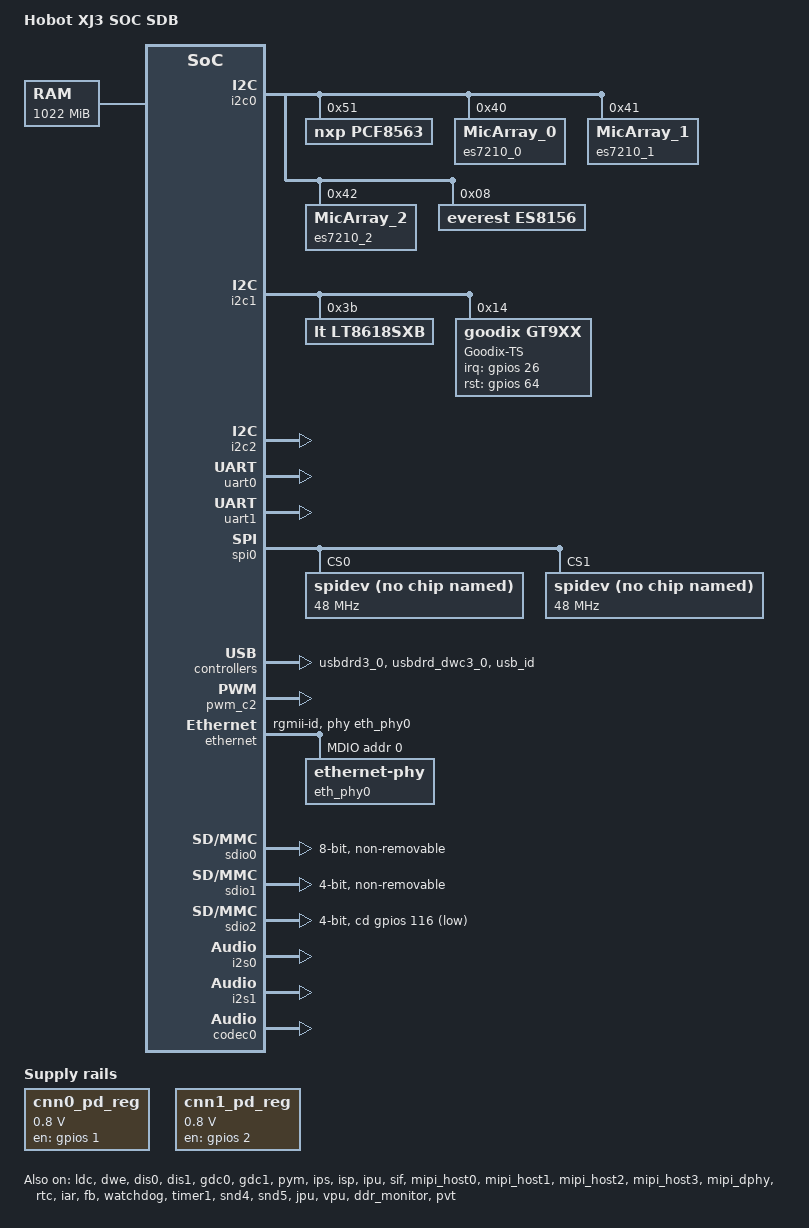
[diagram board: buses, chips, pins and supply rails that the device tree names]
/*
 * dtsi file for Hobot XJ3 SDB
 *
 * (C) Copyright 2018, Horizon, Inc.
 *
 *
 * This program is free software; you can redistribute it and/or
 * modify it under the terms of the GNU General Public License as
 * published by the Free Software Foundation; either version 2 of
 * the License, or (at your option) any later version.
 */

/dts-v1/;
#include "hobot-xj3.dtsi"
#include "hobot-pinctrl-xj3.dtsi"
#include "hobot-clk-xj3.dtsi"
#include <dt-bindings/gpio/gpio.h>
#include <dt-bindings/phy/phy.h>

/ {
	model = "Hobot XJ3 SOC SDB";

	aliases {
		serial0 = &uart0;
		serial1 = &uart1;
		serial2 = &uart2;
		serial3 = &uart3;
		i2c0	= &i2c0;
		i2c1	= &i2c1;
		i2c2	= &i2c2;
		i2c3	= &i2c3;
		i2c4	= &i2c4;
		i2c5	= &i2c5;
		i2s0	= &i2s0;
		i2s1	= &i2s1;
		spi0	= &spi0;
		spi1	= &spi1;
		spi2	= &spi2;
		usbdrd3_0 = &usbdrd3_0;
		usbdrd_dwc3_0 = &usbdrd_dwc3_0;
		bifspi	= &bifspi;
		bifsd   = &bifsd;
		mmc1	= &sdio0;
		mmc2	= &sdio1;
		mmc3	= &sdio2;
		dma	= &dma;
		dmatest = &dmatest;
		mipihost0 = &mipi_host0;
		mipihost1 = &mipi_host1;
		mipihost2 = &mipi_host2;
		mipihost3 = &mipi_host3;
		mipidev0 = &mipi_dev0;

		pym	= &pym;
		dwe	= &dwe;
		ldc	= &ldc;
		dis0	= &dis0;
		dis1	= &dis1;
		gdc0	= &gdc0;
		gdc1	= &gdc1;
		isp	= &isp;
		ipu	= &ipu;
		sif	= &sif;

		sndcard0 = &snd0;
		sndcard1 = &snd1;
		sndcard2 = &snd2;
		sndcard4 = &snd4;
		idma0 = &i2sidma0;
		idma1 = &i2sidma1;

		codec0 = &codec0;

		socinfo = &socinfo;

		gpios = &gpios;
		usb_id = &usb_id;
		extcon_vbus = &extcon_vbus;

		power = &power;
		pwm_c2 = &pwm_c2;
	};

	chosen {
		bootargs = "earlycon loglevel=8 kgdboc=ttyS0 video=hobot:x3sdb-hdmi ";
		stdout-path = "serial0";
	};

	memory@0 {
		device_type = "memory";
		reg = <0x0 0x200000 0x0 0x3FE00000>;
	};

	reserved-memory {
		#address-cells = <2>;
		#size-cells = <2>;
		ranges;

		/*Reserved 256K memory pstore */
		ramoops@0x3FC0000 {
			compatible = "ramoops";
			reg = <0x0 0x3FC0000 0x0 0x40000>;
			console-size = <0x8000>;
			pmsg-size = <0x8000>;
			ftrace-size = <0x8000>;
			record-size = <0x4000>;
		};

		/* Reserved 672MB memory for ion cma */
		ion_cma {
			compatible = "shared-dma-pool";
			alloc-ranges = <0x0 0x4000000 0x0 0x2A000000>;
			alignment = <0x0 0x100000>;
			size = <0x0 0x2A000000>;
			reusable;
		};

		/* 32M */
/*
		ion_reserved: ion_reserved@0x2E000000 {
			compatible = "ion-pool";
			reg = <0x0 0x2E000000 0x0 0x2000000>;
		};
*/
		/*Reserved 1M memory for CR5*/
		image_r5_mem: image_r5_mem {
			reg = <0x0 0x80000000 0x0 0x10000>;
			no-map;
		};

		msg_r5_mem: msg_r5_mem {
			reg = <0x0 0x8000f000 0x0 0x1000>;
			no-map;
		};

		rpmsg_r5_code: rpmsg_r5_code {
			reg = <0x0 0x3E00000 0x0 0xFF000>;
			no-map;
		};

		rpmsg_r5_vring: rpmsg_r5_vring {
			reg = <0x0 0x3EFF000 0x0 0x1000>;
			no-map;
		};
	};

	cnn0_pd_reg: cnn0_pd_reg@2 {
		status = "okay";
		compatible = "regulator-gpio";
		regulator-name = "VCC_CNN0";
		regulator-min-microvolt = <800000>;
		regulator-max-microvolt = <800000>;
		enable-gpio = <&gpios 1 0>;
		states = <800000 0>;
		startup-delay-us = <3000>;
		regulator-boot-on;
		enable-active-high;
	};

	cnn1_pd_reg: cnn1_pd_reg@3 {
		status = "okay";
		compatible = "regulator-gpio";
		regulator-name = "VCC_CNN1";
		regulator-min-microvolt = <800000>;
		regulator-max-microvolt = <800000>;
		enable-gpio = <&gpios 2 0>;
		states = <800000 0>;
		startup-delay-us = <3000>;
		regulator-boot-on;
		enable-active-high;
	};
};

/*
&cr5_service {
	status = "ok";
};
*/

&power {
    vdd_core_on_cnt = <0xffff>;
    sysctrl_rst_dis_cnt = <0xffff>;
    sysctrl_pre_clkon_cnt = <0xffff>;
    sysctrl_pre_clkoff_cnt = <0xffff>;
};

&socinfo {
	board_name = "X3SDB";
	board_id = "00000000";
	origin_board_id = "00000000";
	ddr_vender = "Hynix";
	ddr_type = "LPDDR4";
	ddr_freq = "2666";
	ddr_size = "1GB";
	som_name = "X3SODIMM";
	base_board_name = "X3SDB";
	boot_mode = "0";
	socuid = "00000000000000000000000000000000";
};

&pinctrl {
	btout_func: btout_func {
		pinctrl-single,pins = <
			0x138   (MUX_F0 | DRIVE1_33MA | SCHMITT2_ENA | PULL2_DOWN) /*BT1120_OUT_CLK*/
			0x13c   (MUX_F0 | DRIVE1_12MA | SCHMITT2_DIS | PULL2_DOWN) /*BT1120_OUT_DAT0*/
			0x140   (MUX_F0 | DRIVE1_12MA | SCHMITT2_DIS | PULL2_DOWN)
			0x144   (MUX_F0 | DRIVE1_12MA | SCHMITT2_DIS | PULL2_DOWN)
			0x148   (MUX_F0 | DRIVE1_12MA | SCHMITT2_DIS | PULL2_DOWN)
			0x14c   (MUX_F0 | DRIVE1_12MA | SCHMITT2_DIS | PULL2_DOWN)
			0x150   (MUX_F0 | DRIVE1_12MA | SCHMITT2_DIS | PULL2_DOWN)
			0x154   (MUX_F0 | DRIVE1_12MA | SCHMITT2_DIS | PULL2_DOWN)
			0x158   (MUX_F0 | DRIVE1_12MA | SCHMITT2_DIS | PULL2_DOWN) /*BT1120_OUT_DAT7*/
			0x15c   (MUX_F0 | DRIVE1_12MA | SCHMITT2_DIS | PULL2_DOWN) /*BT1120_OUT_DAT8*/
			0x160   (MUX_F0 | DRIVE1_12MA | SCHMITT2_DIS | PULL2_DOWN)
			0x164   (MUX_F0 | DRIVE1_12MA | SCHMITT2_DIS | PULL2_DOWN)
			0x168   (MUX_F0 | DRIVE1_12MA | SCHMITT2_DIS | PULL2_DOWN)
			0x16c   (MUX_F0 | DRIVE1_12MA | SCHMITT2_DIS | PULL2_DOWN)
			0x170   (MUX_F0 | DRIVE1_12MA | SCHMITT2_DIS | PULL2_DOWN)
			0x174   (MUX_F0 | DRIVE1_12MA | SCHMITT2_DIS | PULL2_DOWN)
			0x178   (MUX_F0 | DRIVE1_12MA | SCHMITT2_DIS | PULL2_DOWN) /*BT1120_OUT_DAT15*/
		>;
	};
};

&i2c0 {
	status = "okay";
	#address-cells = <1>;
	#size-cells = <0>;
	/* pcf8563 */
	pcf8563@0x51 {
		compatible = "nxp,pcf8563";
		reg = <0x51>;
		clock-output-names = "wifi-32k-clk";
	};

	es7210_0:es7210_0@0x40 {
		compatible = "MicArray_0";
		reg = <0x40>;
		#sound-dai-cells = <1>;
	};
	es7210_1@0x41 {
		compatible = "MicArray_1";
		reg = <0x41>;
	};
	es7210_2@0x42{
		compatible = "MicArray_2";
		reg = <0x42>;
	};
	es8156:es8156_0@0x08{
		compatible="everest,es8156";
		reg = <0x08>;
		#sound-dai-cells = <0>;
	};
};

&i2c1 {
	status = "okay";
	#address-cells = <1>;
	#size-cells = <0>;

	lt8618sxb@0x3b {
		compatible = "lt,lt8618sxb";
		reg = <0x3b>;
		rst_pin = <64>; // shared reset with TP!
	};
	Goodix-TS@0x14 {
		compatible = "goodix,gt9xx";
		reg = <0x14>;
		irq-gpio = <&gpios 26 0>;
		rst-gpio = <&gpios 64 0>;
		status = "okay";
	};
};

&i2c2 {
	status = "okay";
	#address-cells = <1>;
	#size-cells = <0>;

};


&i2c5 {
	status = "disable";
	#address-cells = <1>;
	#size-cells = <0>;

	es8311: es8311@0x18 {
		compatible = "ambarella,es8311";
		reg = <0x18>;
		#sound-dai-cells = <0>;
	};
};


&uart0 {
	status = "okay";
};

&uart1 {
	status = "okay"; /* 4 wire uart for bt */
	pinctrl-0 = <&uart1_func_rtscts>; /* <&uart1_func>;  uart 1 connect to bt with rtscts*/
};

&spi0 {
	status = "okay";
	pinctrl-names = "default","csn1_func";
	pinctrl-1 = <&spi0_csn1_func>;
	spidev@0x00 {
		compatible = "rohm,dh2228fv";
		spi-max-frequency = <48000000>;
		reg = <0>;
	};

	spidev@0x01 {
		compatible = "rohm,dh2228fv";
		spi-max-frequency = <48000000>;
		reg = <1>;
	};
};

&usbdrd3_0 {
	status = "okay";
};

&usbdrd_dwc3_0 {
	status = "okay";
};

&usb_id {
	status = "okay";

	/* vbus-gpio = <>; */
	id-gpio = <&gpios 65 GPIO_ACTIVE_HIGH>;
	host-rst-gpio = <&gpios 115 GPIO_ACTIVE_HIGH>;
	host-exrst-gpio = <&gpios 4 GPIO_ACTIVE_LOW>;
};

&extcon_vbus {
	status = "disabled";

	pinctrl-names = "default";
	pinctrl-0 = <&vbus_detect_function>;

	gpio-mode = <0x1>;	/* 1: poll mode, 2: interrupt mode */
	vbus-gpio = <&gpios 22 GPIO_ACTIVE_HIGH>;
};

&gpios {
	status = "okay";
};

&pinctrl {
	status = "okay";
};

&ldc {
	status = "okay";
};

&dwe {
	status = "okay";
};

&dis0 {
	status = "okay";
};

&dis1 {
	status = "okay";
};

/* when gdc0 added, boot stucked one time */
&gdc0 {
	status = "okay";
};

&gdc1 {
	status = "okay";
};

&pym {
	status = "okay";
};

&ips {
	status = "okay";
};

&isp {
	status = "okay";
};

&ipu {
	status = "okay";
};

&sif {
	status = "okay";
};

&mipi_host0 {
	status = "okay";
};

&mipi_host1 {
	status = "okay";
};

&mipi_host2 {
	status = "okay";
};

&mipi_host3 {
	status = "okay";
};

&mipi_dphy {
	status = "okay";
};

&dma {
	status = "okay";
};

&rtc {
	status = "okay";
};

&pwm_c2 {
	status = "okay";
	pinctrl-names = "pwm0", "pwm1","pwm2";
	pinctrl-0 = <>;
	pinctrl-1 = <&pwm7_func>;
	pinctrl-2 = <&pwm8_func>;
};

&ethernet {
	status = "okay";

	/* pinctrl-names = "default";
	pinctrl-0 = <&eth_func>; */

	/* local-mac-address = [ 00 11 22 33 44 55 ]; */
	phy-mode = "rgmii-id";

	phy-handle = <&eth_phy0>;
	mdio {
		#address-cells = <0x1>;
		#size-cells = <0x0>;
		/* use GPIO 1.8 as RESET PIN for phy */
		reset-gpios = <&gpios 24 GPIO_ACTIVE_HIGH>;
		/* reset pin must assert at least 10ms for RTL8211F */
		reset-delay-us = <20000>;
		/* regs of RTL8211F cannot be accessed until at least 72ms after the reset */
		reset_extra_us = <100000>;

		eth_phy0: ethernet-phy@0 {
			reg = <0x0>;
			max-speed = <1000>;
		};
	};
};

&iar {
	status = "okay";
	pinctrl-names = "bt_func", "rgb_func", "rgb_gpio_func", "bt1120_voltage_func";
	pinctrl-3 = <&bt1120_3_3v_func>;
	disp_panel_reset_pin = <117>;
	timing_1920x1080 = <148500000 160 120 24 48 4 5>;
	timing_720x1280_touch = <64000000 40 40 10 11 16 3>;
	startup-img = <1>;
	pwm = <1 1000 200>;
	default-display-type = <1>;//hdmi
};

&fb {
	status = "okay";
	offset-rgba = <16 8 0 24>;
};

&sdio0 {
	status = "okay";
	bus-width = <8>;
	cap-mmc-highspeed;
	mmc-hs200-1_8v;
	non-removable;
	disable-wp;
};

&sdio1 {
	status = "okay";
	bus-width = <4>;
	no-mmc;
	no-sd;
	cap-sdio-irq;
	cap-sd-highspeed;
	broken-cd;
	disable-wp;
	keep-power-in-suspend;
	clock-freq-min-max = <100000 50000000>;
	max-frequency = <50000000>;
	mmc-fixed-voltage = <1800>;
	non-removable;
	pinctrl-names = "default","voltage_1_8v";
	pinctrl-0 = <&sdio1_func>;
	pinctrl-1 = <&sd1_1_8v_func>;
};

&sdio2 {
	status = "okay";
	bus-width = <4>;
	no-mmc;
	no-sdio;
	cap-sd-highspeed;
	keep-power-in-suspend;
	cd-gpios = <&gpios 116 GPIO_ACTIVE_LOW>;
	/* broken-cd; */
	disable-wp;
};

&watchdog {
	status = "okay";
};

&timer1 {
	status = "okay";
};

&i2s0 {
	status = "okay";
	#sound-dai-cells = <0>;
	clocks = <&i2s0_mclk>, <&i2s0_bclk>;
	clock-names = "i2s-mclk", "i2s-bclk";
	ms = <1>;
	bclk_set = <1536000>; //duplex
};

&i2s1 {
	status = "okay";
	#sound-dai-cells = <0>;
	clocks = <&i2s1_mclk>, <&i2s1_bclk>;
	clock-names = "i2s-mclk", "i2s-bclk";
	ms = <1>;
	bclk_set = <1536000>;
};

&i2sidma0 {
	status = "okay";
};

&i2sidma1 {
	status = "okay";
};

&codec0 {
	status = "okay";
	#sound-dai-cells = <1>;
};

&snd4 {
	status = "okay";
};
&snd5 {
	status = "okay";
};

&jpu {
	status = "okay";
};

&vpu {
	status = "okay";
};

&ddr_monitor {
	status = "okay";
};

&power {
	status = "okay";
};

&pvt {
	status = "okay";
};

&soc_thermal {
	status = "okay";

	trips {
		threshold: trip-point@0 {
			temperature = <80000>;
			hysteresis = <0>;
			type = "passive";
		};
		target: trip-point@1 {
			temperature = <95000>;
			hysteresis = <0>;
			type = "passive";
		};
		soc_crit: soc-crit {
			temperature = <105000>;
			hysteresis = <0>; /* millicelsius */
			type = "critical";
		};
	};
};

&cnn0 {
	cnn-supply = <&cnn0_pd_reg>;
	governor = "userspace";
	max_freq = /bits/ 64 <1000000000>;
};

&cnn1 {
	cnn-supply = <&cnn1_pd_reg>;
	governor = "userspace";
	max_freq = /bits/ 64 <1000000000>;
};

&snd4 { //dummy-codec
	model = "hobotsnd4";
	work_mode = <1>; /*0:simple mode; 1:duplex mode*/
	dai-link@0 {
		dai-format = "i2s";
		//bitclock-master;
		//frame-master;
		frame-inversion;
		link-name = "hobotdailink0";
		cpu {
			sound-dai = <&i2s0>;
		};
		codec {
			sound-dai = <&codec0 0>;
		};
		platform {
			sound-dai = <&i2sidma0>;
		};
	};
	dai-link@1 {
		dai-format = "i2s";
		bitclock-master;
		frame-master;
		frame-inversion;
		link-name = "hobotdailink1";
		cpu {
			sound-dai = <&i2s1>;
		};
		codec {
			sound-dai = <&codec0 1>;
		};
		platform {
			sound-dai = <&i2sidma1>;
		};
	};
};

&snd5 {
	model = "hobotsnd5";
	work_mode = <0>; /*0:simple mode; 1:duplex mode*/
	dai-link@0 {
		dai-format = "dsp_a";
		bitclock-master;
		frame-master;
		frame-inversion;
		link-name = "hobotdailink0";
		cpu {
			sound-dai = <&i2s0>;
		};
		codec {
			sound-dai = <&es7210_0 0>;
		};
		platform {
			sound-dai = <&i2sidma0>;
		};
	};
	dai-link@1 {
		dai-format = "i2s";
		bitclock-master;
		frame-master;
		//frame-inversion;
		link-name = "hobotdailink1";
		cpu {
			sound-dai = <&i2s1>;
		};
		codec {
			sound-dai = <&es8156>;
		};
		platform {
			sound-dai = <&i2sidma1>;
		};
	};
};

